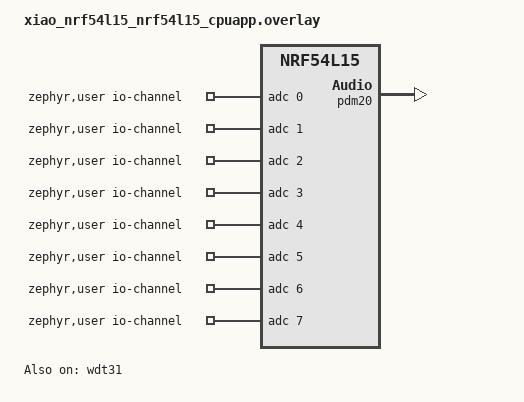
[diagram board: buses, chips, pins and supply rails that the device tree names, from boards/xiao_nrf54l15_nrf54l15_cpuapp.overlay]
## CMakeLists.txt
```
# SPDX-License-Identifier: Apache-2.0

cmake_minimum_required(VERSION 3.20.0)
# Boot-time reset reason readout, see lib/reset_reason
list(APPEND ZEPHYR_EXTRA_MODULES ${CMAKE_CURRENT_LIST_DIR}/../lib/reset_reason)
find_package(Zephyr REQUIRED HINTS $ENV{ZEPHYR_BASE})
project(gabriel)

target_sources(app PRIVATE
  src/main.c
)
```

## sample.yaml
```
sample:
  name: Gabriel
  description: Gabriel project
tests:
  sample.gabriel:
    harness: console
    platform_allow:
      - xiao_nrf54l15/nrf54l15/cpuapp
    tags: adc uart pdm
    integration_platforms:
      - xiao_nrf54l15/nrf54l15/cpuapp
```

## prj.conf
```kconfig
CONFIG_LOG=y

# UART
CONFIG_SERIAL=y
CONFIG_UART_INTERRUPT_DRIVEN=y

# GPIO
CONFIG_GPIO=y

# Hardware Info
CONFIG_HWINFO=y

# ADC and Regulator for battery monitoring
CONFIG_ADC=y
CONFIG_REGULATOR=y

# JSON support
CONFIG_JSON_LIBRARY=y
```

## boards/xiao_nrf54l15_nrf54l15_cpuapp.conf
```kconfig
CONFIG_GPIO=y
CONFIG_SERIAL=y
CONFIG_UART_INTERRUPT_DRIVEN=y
CONFIG_CONSOLE=y
CONFIG_UART_CONSOLE=y
CONFIG_LOG=y
CONFIG_LOG_DEFAULT_LEVEL=3
CONFIG_HWINFO=y

CONFIG_JSON_LIBRARY=y

CONFIG_ADC=y
CONFIG_ADC_ASYNC=y
```

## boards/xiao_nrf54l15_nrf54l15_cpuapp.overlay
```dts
/ {
	zephyr,user {
		io-channels = <&adc 0>, <&adc 1>, <&adc 2>, <&adc 3>,
			       <&adc 4>, <&adc 5>, <&adc 6>, <&adc 7>;
	};
};

&wdt31 {
	status = "okay";
};

dmic_dev: &pdm20 {
	status = "okay";
};

&pinctrl {

	uart21_default: uart21_default {
		group1 {
			psels = <NRF_PSEL(UART_TX, 2, 8)>;
			nordic,drive-mode = <NRF_DRIVE_S0D1>;
			bias-pull-up;
		};

		group2 {
			psels = <NRF_PSEL(UART_RX, 2, 7)>;
			bias-pull-up;
		};
	};

	uart21_sleep: uart21_sleep {
		group1 {
			psels = <NRF_PSEL(UART_TX, 2, 8)>,
				<NRF_PSEL(UART_RX, 2, 7)>;
			low-power-enable;
		};
	};
};
```

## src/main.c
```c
#include <stdio.h>
#include <string.h>
#include <zephyr/kernel.h>
#include <zephyr/device.h>
#include <zephyr/drivers/uart.h>
#include <zephyr/sys/printk.h>
#include <zephyr/logging/log.h>
#include <zephyr/devicetree.h>
#include <nrfx_power.h>
#include <zephyr/drivers/hwinfo.h>
#include <zephyr/drivers/gpio.h>
#include <zephyr/kernel_version.h>
#include <ncs_version.h>
#include <zephyr/sys/util.h>
#include <zephyr/data/json.h>

#include <zephyr/drivers/adc.h>
#include <zephyr/drivers/regulator.h>

#define LED0_NODE DT_ALIAS(led0)
static const struct gpio_dt_spec led = GPIO_DT_SPEC_GET(LED0_NODE, gpios);

#define BUF_SIZE 256

const struct device *uart_dev = DEVICE_DT_GET(DT_NODELABEL(uart21));

static const char *TRIGGER = "getID";
static const char *TRIGGER1 = "getVERSION";

static uint8_t get_hw_id[32];
static ssize_t get_hw_id_len = 0;

static char rx_buf[BUF_SIZE];
static int rx_pos = 0;

static volatile bool send_hw_pending;
static volatile bool send_ver_pending;

static char uart_tx_buf[BUF_SIZE];
static volatile int uart_tx_pos;
static volatile int uart_tx_len;

static void uart_send(const char *data, size_t len)
{
    if (uart_tx_len > 0) {
        return; /* previous TX still in progress, drop */
    }
    size_t copy = MIN(len, sizeof(uart_tx_buf));
    memcpy(uart_tx_buf, data, copy);
    uart_tx_pos = 0;
    uart_tx_len = copy;
    uart_irq_tx_enable(uart_dev);
}

// Json struct
struct hw_msg
{
    const char *HW_ID;
};

struct version_msg
{
    const char *app_build;
    const char *ncs_build;
    const char *kernel;
};
// in Json formatieren
static const struct json_obj_descr hw_msg_descr[] = {
    JSON_OBJ_DESCR_PRIM(struct hw_msg, HW_ID, JSON_TOK_STRING)};

static const struct json_obj_descr version_msg_descr[] = {
    JSON_OBJ_DESCR_PRIM(struct version_msg, app_build, JSON_TOK_STRING),
    JSON_OBJ_DESCR_PRIM(struct version_msg, ncs_build, JSON_TOK_STRING),
    JSON_OBJ_DESCR_PRIM(struct version_msg, kernel, JSON_TOK_STRING),
};
// Batterie setting
#define VBAT_REG_NODE DT_NODELABEL(vbat_pwr)
#define ADC_NODE DT_NODELABEL(adc)
#define VBAT_ADC_CH_NODE DT_CHILD(ADC_NODE, channel_7)

static const struct device *const vbat_reg = DEVICE_DT_GET(VBAT_REG_NODE);
static const struct device *const adc_dev = DEVICE_DT_GET(ADC_NODE);

static const struct adc_channel_cfg vbat_chan_cfg = ADC_CHANNEL_CFG_DT(VBAT_ADC_CH_NODE);

static int read_battery_mv(int32_t *out_mv)
{
    int err;
    uint16_t raw = 0;

    if (!device_is_ready(adc_dev))
    {
        return -ENODEV;
    }
    if (!device_is_ready(vbat_reg))
    {
        return -ENODEV;
    }

    /* Enable the battery sense switch (VBAT_EN via vbat_pwr) */
    err = regulator_enable(vbat_reg);
    if (err < 0)
    {
        return err;
    }
    k_sleep(K_MSEC(5));

    /* Configure ADC channel (as defined in board DTS) */
    err = adc_channel_setup(adc_dev, &vbat_chan_cfg);
    if (err < 0)
    {
        regulator_disable(vbat_reg);
        return err;
    }

    struct adc_sequence seq = {
        .channels = BIT(vbat_chan_cfg.channel_id),
        .buffer = &raw,
        .buffer_size = sizeof(raw),
        .resolution = DT_PROP(VBAT_ADC_CH_NODE, zephyr_resolution),
        .oversampling = DT_PROP_OR(VBAT_ADC_CH_NODE, zephyr_oversampling, 0),
    };

    err = adc_read(adc_dev, &seq);
    regulator_disable(vbat_reg);

    if (err < 0)
    {
        return err;
    }

    /* RAW -> mV at the ADC pin */
    int32_t mv = (int32_t)raw;
    uint16_t ref_mv = adc_ref_internal(adc_dev);
    err = adc_raw_to_millivolts((int32_t)ref_mv, vbat_chan_cfg.gain, (uint8_t)seq.resolution, &mv);
    if (err < 0)
    {
        return err;
    }

    /* Board has 10k/10k divider => ADC sees VBAT/2, so scale back */
    mv *= 2;

    *out_mv = mv;
    return 0;
}

void send_hardware(const struct device *dev)
{
    struct hw_msg msg;
    char tx_buf[256];
    char hw_id_hex[2 * sizeof(get_hw_id)];
    int ret;
    int n = 0;

    if (get_hw_id_len <= 0)
    {
        msg.HW_ID = "unavailable";
        // n = snprintf(tx_buf, sizeof(tx_buf), "HW-ID: <unavailable>\n");
    }
    else
    {

        // Hardware ID Länge + ganze Zahl in Hexa
        // n += snprintf(tx_buf + n, sizeof(tx_buf) - n, "%02X", get_hw_id[0]);

        for (int i = 1; i < get_hw_id_len && n < (int)sizeof(hw_id_hex); i++)
        {
            n += snprintf(&hw_id_hex[n], sizeof(hw_id_hex) - n, "%02X", get_hw_id[i]);
        }

        hw_id_hex[n] = '\0';
        msg.HW_ID = hw_id_hex;

        // zeilenende + neue Zeile
        // n += snprintf(tx_buf + n, sizeof(tx_buf) - n, "\n");
    }
    ret = json_obj_encode_buf(hw_msg_descr,
                              ARRAY_SIZE(hw_msg_descr),
                              &msg,
                              tx_buf,
                              sizeof(tx_buf));

    if (ret < 0)
    {
        snprintf(tx_buf, sizeof(tx_buf),
                 "{\"hw_id\":\"error\"}");
    }

    size_t len = strnlen(tx_buf, sizeof(tx_buf));
    if (len < sizeof(tx_buf) - 1)
    {
        tx_buf[len++] = '\n';
        tx_buf[len] = '\0';
    }

    uart_send(tx_buf, len);
}

void send_version(const struct device *dev)
{
    struct version_msg msg;
    char tx_buf[256];
    char ncs_buf[256];
    char app_buf[256];
    char kernel_buf[256];

    int ret;

    // ncs_build_version
    const char *ncs_build = STRINGIFY(NCS_BUILD_VERSION);
    snprintf(ncs_buf, sizeof(ncs_buf), "NCS_BUILD_VERSION: %s", ncs_build);

    // app_build_version
    const char *app_build = STRINGIFY(APP_BUILD_VERSION);
    snprintf(app_buf, sizeof(app_buf), "APP_BUILD_VERSION: %s",
             app_build);

    // sys_kernel_version
    uint32_t v = sys_kernel_version_get();
    snprintf(kernel_buf, sizeof(kernel_buf),
             "SYS_KERNEL_VERSION: %u.%u.%u",
             SYS_KERNEL_VER_MAJOR(v),
             SYS_KERNEL_VER_MINOR(v),
             SYS_KERNEL_VER_PATCHLEVEL(v));

    msg.ncs_build = ncs_buf;
    msg.app_build = app_buf;
    msg.kernel = kernel_buf;

    ret = json_obj_encode_buf(version_msg_descr,
                              ARRAY_SIZE(version_msg_descr),
                              &msg,
                              tx_buf,
                              sizeof(tx_buf));

    if (ret < 0)
    {
        snprintf(tx_buf, sizeof(tx_buf),
                 "{\"error\":\"version_encode_failed\"}");
    }

    size_t len = strnlen(tx_buf, sizeof(tx_buf));
    if (len < sizeof(tx_buf) - 1)
    {
        tx_buf[len++] = '\n';
        tx_buf[len] = '\0';
    }

    uart_send(tx_buf, len);
}

// ISR-Uart-Interrupt Serivce Routine
static void uart_isr(const struct device *dev, void *user_data)
{

    if (!uart_irq_update(dev))
    {
        return;
    }

    /* TX: feed bytes from uart_tx_buf into FIFO */
    if (uart_irq_tx_ready(dev))
    {
        if (uart_tx_pos < uart_tx_len) {
            int sent = uart_fifo_fill(dev,
                (uint8_t *)&uart_tx_buf[uart_tx_pos],
                uart_tx_len - uart_tx_pos);
            uart_tx_pos += sent;
        }
        if (uart_tx_pos >= uart_tx_len) {
            uart_irq_tx_disable(dev);
            uart_tx_len = 0;
        }
    }

    if (!uart_irq_rx_ready(dev))
    {
        return;
    }

    uint8_t c;
    int rec;

    // Alle aktuell verfügbaren Bytes abholen
    while ((rec = uart_fifo_read(dev, &c, 1)) > 0)
    {

        // Zeichenende erkennen
        if (c == '\n') //|| c == '\r')
        {
            // Null-terminieren
            if (rx_pos < (int)sizeof(rx_buf))
            {
                rx_buf[rx_pos] = '\0';
            }
            else
            {
                rx_buf[sizeof(rx_buf) - 1] = '\0';
            }

            // Vergleich mit Text - nur Flag setzen, main loop erledigt den Rest
            if (strcmp(rx_buf, TRIGGER) == 0)
            {
                send_hw_pending = true;
            }
            if (strcmp(rx_buf, TRIGGER1) == 0)
            {
                send_ver_pending = true;
            }

            // Für nächste Zeile zurücksetzen
            rx_pos = 0;
            continue;
        }

        // Normales Zeichen puffern Überlaufschutz
        if (rx_pos < (int)sizeof(rx_buf) - 1)
        {
            rx_buf[rx_pos++] = c;
        }
        else
        {
            // Zu lange Zeile: verwerfen und neu beginnen
            rx_pos = 0;
        }
    }
}

int main(void)
{
    /* Port 1 ist ein always on bzw. low-power-freunldiche Domäne: stabile versorgung und
       weckt das System zuverlässig
       Port 2 ist ein High-Performance Domäne bei schnellen Signalen wie UART RX kann dann
       das Startbit verpasst werden, außer man hält die Domäne wach mit
       nrfx_power_constlat_mode_request(), passt das Power-Managment an mit konstanter Latenz

       Port 2.08 (TX) und 2.07 (RX) von UART21 werden mit verschiedenen spannung
       Betrieben um diese aufzuheben muss die nrfx_power_constlat_mode_request()
       Eingefügt werden anderenfalls kann man im xiao_nrf54l15_nrfl15_cpuapp.overlay
       die Pins anderes konfigurieren zum Beispiel P1.04 und P1.05 dann würde Uart21
       funktionieren.
   */
    nrfx_power_constlat_mode_request();

    if (!device_is_ready(uart_dev))
    {
        printk("Uart Device not ready\n");
        return -1;
    }

    // Hardware-ID holen
    get_hw_id_len = hwinfo_get_device_id(get_hw_id, sizeof(get_hw_id));

    // Uart interrupt einstellen
    uart_irq_callback_user_data_set(uart_dev, uart_isr, NULL);

    uart_irq_rx_enable(uart_dev);

    int ret;
    bool led_is_on = true;

    if (!gpio_is_ready_dt(&led))
    {
        return -1;
    }

    ret = gpio_pin_configure_dt(&led, GPIO_OUTPUT_ACTIVE);
    if (ret < 0)
    {
        return ret;
    }

    while (1)
    {

        ret = gpio_pin_set_dt(&led, (int)led_is_on);
		 if (ret < 0) {
			 return ret;
		 }
		 led_is_on = !led_is_on;



        int32_t vbat_mv;
        int err = read_battery_mv(&vbat_mv);

        if (err == 0)
        {
            printk("VBAT = %d mV (%d.%03d V)\n",
                   (int)vbat_mv,
                   (int)(vbat_mv / 1000),
                   (int)(vbat_mv % 1000));
        }
        else
        {
            printk("VBAT read failed: %d\n", err);
        }

        if (send_hw_pending) {
            send_hw_pending = false;
            send_hardware(uart_dev);
        }
        if (send_ver_pending) {
            send_ver_pending = false;
            send_version(uart_dev);
        }

        k_sleep(K_SECONDS(1));
        printk("main enable\n");

        // Consolen ausgabe
        printk("sys_kernel_version_get: %d\n", sys_kernel_version_get());
        printk("APP_BUILD_VERSION: %s\n", STRINGIFY(APP_BUILD_VERSION));
        printk("NCS_BUILD_VERSION: %s\n", STRINGIFY(NCS_BUILD_VERSION));
    }

    return 0;
}
```
